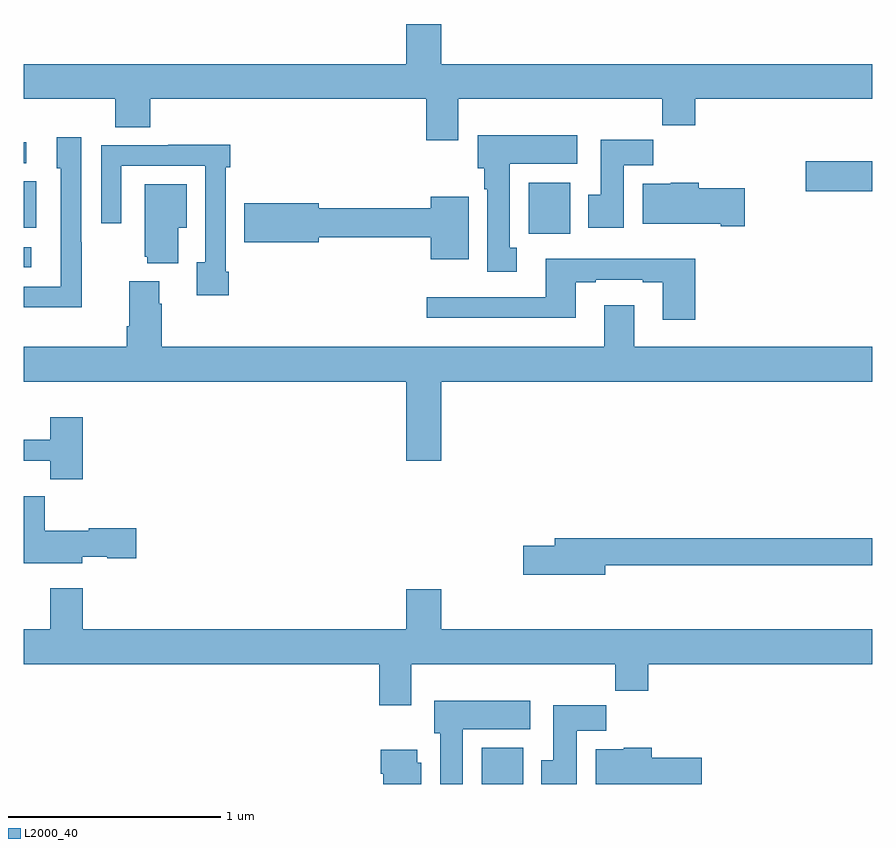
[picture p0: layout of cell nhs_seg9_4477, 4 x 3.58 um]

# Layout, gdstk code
import gdstk
lib = gdstk.Library(unit=1e-6, precision=1e-09)
def R(c, l, rs):  # rectangles x0, y0, x1, y1
    for r in rs: c.add(gdstk.rectangle(r[:2], r[2:], *l))
def P(c, l, *ps):  # polygons
    for p in ps: c.add(gdstk.Polygon(p, *l))
L2000_40 = (2000, 40)

nhs_seg9_4477 = lib.new_cell('nhs_seg9_4477')
R(nhs_seg9_4477, L2000_40, [(369.158,1218.5,369.355,1218.67), (367,1220.934,367.036,1221.03), (369.38,1221.092,369.577,1221.334), (367,1221.122,367.06,1221.341), (370.686,1221.293,371,1221.435), (367,1221.426,367.012,1221.524)])
P(nhs_seg9_4477, L2000_40, [(369.049,1221.728),(370.009,1221.728),(370.009,1221.604),(370.166,1221.604),(370.166,1221.728),(371,1221.728),(371,1221.892),(368.968,1221.892),(368.968,1222.081),(368.804,1222.081),(368.804,1221.892),(367,1221.892),(367,1221.728),(367.433,1221.728),(367.433,1221.595),(367.598,1221.595),(367.598,1221.728),(368.897,1221.728),(368.897,1221.534),(369.049,1221.534)],
  [(369.325,1221.026),(369.292,1221.026),(369.292,1221.422),(369.61,1221.422),(369.61,1221.556),(369.14,1221.556),(369.14,1221.402),(369.17,1221.402),(369.17,1221.302),(369.185,1221.302),(369.185,1220.913),(369.325,1220.913)],
  [(367.275,1221.053),(367.272,1221.053),(367.272,1221.547),(367.157,1221.547),(367.157,1221.402),(367.176,1221.402),(367.176,1220.844),(367,1220.844),(367,1220.747),(367.275,1220.747)],
  [(369.829,1221.416),(369.968,1221.416),(369.968,1221.535),(369.719,1221.535),(369.719,1221.276),(369.662,1221.276),(369.662,1221.12),(369.829,1221.12)],
  [(367.966,1220.914),(367.953,1220.914),(367.953,1221.407),(367.973,1221.407),(367.973,1221.512),(367.681,1221.512),(367.681,1221.51),(367.365,1221.51),(367.365,1221.141),(367.461,1221.141),(367.461,1221.414),(367.857,1221.414),(367.857,1220.958),(367.817,1220.958),(367.817,1220.802),(367.966,1220.802)],
  [(370.399,1221.306),(370.181,1221.306),(370.181,1221.334),(370.05,1221.334),(370.05,1221.328),(369.917,1221.328),(369.917,1221.14),(370.286,1221.14),(370.286,1221.128),(370.399,1221.128)],
  [(367.729,1221.122),(367.768,1221.122),(367.768,1221.325),(367.571,1221.325),(367.571,1220.985),(367.583,1220.985),(367.583,1220.954),(367.729,1220.954)],
  [(369.097,1221.268),(368.918,1221.268),(368.918,1221.212),(368.392,1221.212),(368.392,1221.236),(368.04,1221.236),(368.04,1221.053),(368.392,1221.053),(368.392,1221.076),(368.918,1221.076),(368.918,1220.972),(369.097,1220.972)],
  [(370.166,1220.974),(369.461,1220.974),(369.461,1220.793),(368.901,1220.793),(368.901,1220.696),(369.601,1220.696),(369.601,1220.865),(369.697,1220.865),(369.697,1220.877),(369.917,1220.877),(369.917,1220.865),(370.013,1220.865),(370.013,1220.688),(370.166,1220.688)],
  [(368.968,1220.396),(371,1220.396),(371,1220.56),(369.877,1220.56),(369.877,1220.755),(369.737,1220.755),(369.737,1220.56),(367.652,1220.56),(367.652,1220.762),(367.639,1220.762),(367.639,1220.869),(367.499,1220.869),(367.499,1220.656),(367.487,1220.656),(367.487,1220.56),(367,1220.56),(367,1220.396),(368.804,1220.396),(368.804,1220.022),(368.968,1220.022)],
  [(367.28,1220.227),(367.127,1220.227),(367.127,1220.121),(367,1220.121),(367,1220.022),(367.125,1220.022),(367.125,1219.937),(367.28,1219.937)],
  [(367.276,1219.571),(367.395,1219.571),(367.395,1219.564),(367.531,1219.564),(367.531,1219.706),(367.308,1219.706),(367.308,1219.693),(367.1,1219.693),(367.1,1219.855),(367,1219.855),(367,1219.541),(367.276,1219.541)],
  [(369.742,1219.53),(371,1219.53),(371,1219.658),(369.503,1219.658),(369.503,1219.622),(369.354,1219.622),(369.354,1219.487),(369.742,1219.487)],
  [(368.827,1219.064),(369.787,1219.064),(369.787,1218.94),(369.944,1218.94),(369.944,1219.064),(371,1219.064),(371,1219.228),(368.968,1219.228),(368.968,1219.417),(368.804,1219.417),(368.804,1219.228),(367.28,1219.228),(367.28,1219.423),(367.127,1219.423),(367.127,1219.228),(367,1219.228),(367,1219.064),(368.675,1219.064),(368.675,1218.87),(368.827,1218.87)],
  [(369.07,1218.758),(369.388,1218.758),(369.388,1218.892),(368.936,1218.892),(368.936,1218.738),(368.963,1218.738),(368.963,1218.5),(369.07,1218.5)],
  [(369.607,1218.752),(369.746,1218.752),(369.746,1218.871),(369.497,1218.871),(369.497,1218.612),(369.44,1218.612),(369.44,1218.5),(369.607,1218.5)],
  [(370.195,1218.624),(369.959,1218.624),(369.959,1218.67),(369.828,1218.67),(369.828,1218.664),(369.695,1218.664),(369.695,1218.5),(370.195,1218.5)],
  [(368.875,1218.6),(368.854,1218.6),(368.854,1218.661),(368.684,1218.661),(368.684,1218.548),(368.696,1218.548),(368.696,1218.5),(368.875,1218.5)])

lib.write_gds('nhs_seg9_4477.gds')
